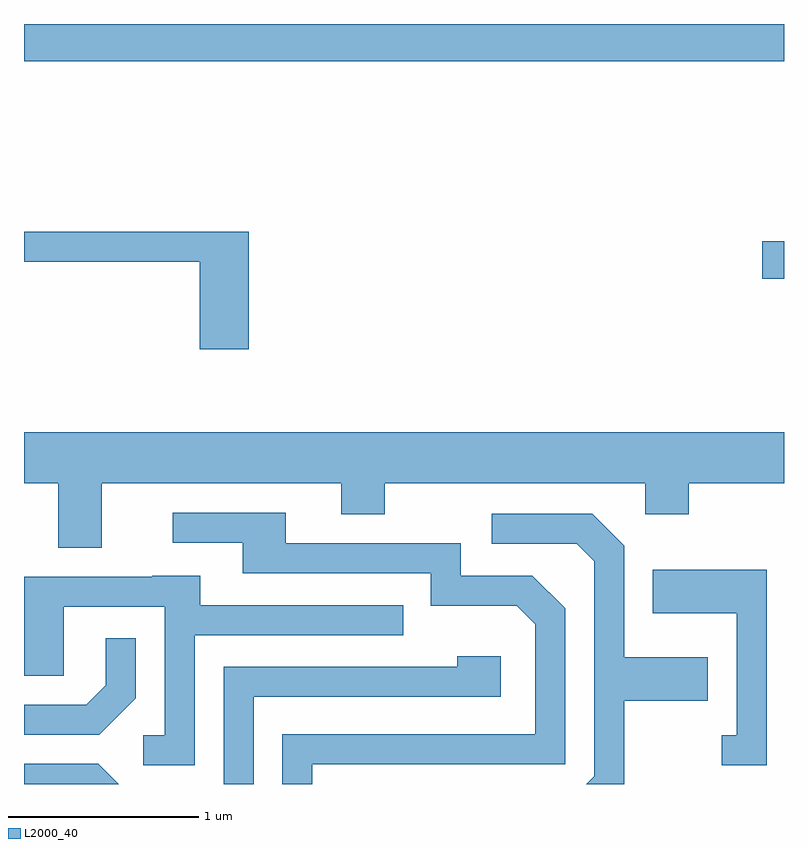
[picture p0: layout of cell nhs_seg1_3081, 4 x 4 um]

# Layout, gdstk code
import gdstk
lib = gdstk.Library(unit=1e-6, precision=1e-09)
def R(c, l, rs):  # rectangles x0, y0, x1, y1
    for r in rs: c.add(gdstk.rectangle(r[:2], r[2:], *l))
def P(c, l, *ps):  # polygons
    for p in ps: c.add(gdstk.Polygon(p, *l))
L2000_40 = (2000, 40)

nhs_seg1_3081 = lib.new_cell('nhs_seg1_3081')
R(nhs_seg1_3081, L2000_40, [(281.496,958.371,281.611,958.569), (277.611,959.516,281.611,959.712)])
P(nhs_seg1_3081, L2000_40, [(278.794,958.619),(277.611,958.619),(277.611,958.461),(278.536,958.461),(278.536,958.001),(278.794,958.001)],
  [(278.019,957.296),(279.281,957.296),(279.281,957.131),(279.509,957.131),(279.509,957.296),(280.881,957.296),(280.881,957.131),(281.109,957.131),(281.109,957.296),(281.611,957.296),(281.611,957.564),(277.611,957.564),(277.611,957.296),(277.791,957.296),(277.791,956.956),(278.019,956.956)],
  [(279.129,955.816),(280.459,955.816),(280.459,956.637),(280.287,956.809),(279.909,956.809),(279.909,956.979),(278.989,956.979),(278.989,957.139),(278.393,957.139),(278.393,956.981),(278.761,956.981),(278.761,956.821),(279.751,956.821),(279.751,956.651),(280.204,956.651),(280.301,956.554),(280.301,955.974),(278.971,955.974),(278.971,955.712),(279.129,955.712)],
  [(280.769,956.151),(281.209,956.151),(281.209,956.379),(280.769,956.379),(280.769,956.967),(280.602,957.134),(280.073,957.134),(280.073,956.976),(280.519,956.976),(280.611,956.884),(280.611,955.752),(280.571,955.712),(280.769,955.712)],
  [(281.519,956.839),(280.921,956.839),(280.921,956.611),(281.361,956.611),(281.361,955.969),(281.283,955.969),(281.283,955.811),(281.519,955.811)],
  [(278.509,956.496),(279.608,956.496),(279.608,956.654),(278.539,956.654),(278.539,956.809),(278.285,956.809),(278.285,956.804),(277.611,956.804),(277.611,956.281),(277.819,956.281),(277.819,956.646),(278.351,956.646),(278.351,955.969),(278.238,955.969),(278.238,955.811),(278.509,955.811)],
  [(278.199,956.164),(278.199,956.478),(278.041,956.478),(278.041,956.232),(277.939,956.129),(277.611,956.129),(277.611,955.971),(278.007,955.971)],
  [(278.819,956.171),(280.119,956.171),(280.119,956.384),(279.891,956.384),(279.891,956.329),(278.661,956.329),(278.661,955.712),(278.819,955.712)],
  [(278.002,955.819),(277.611,955.819),(277.611,955.712),(278.109,955.712)])

lib.write_gds('nhs_seg1_3081.gds')
